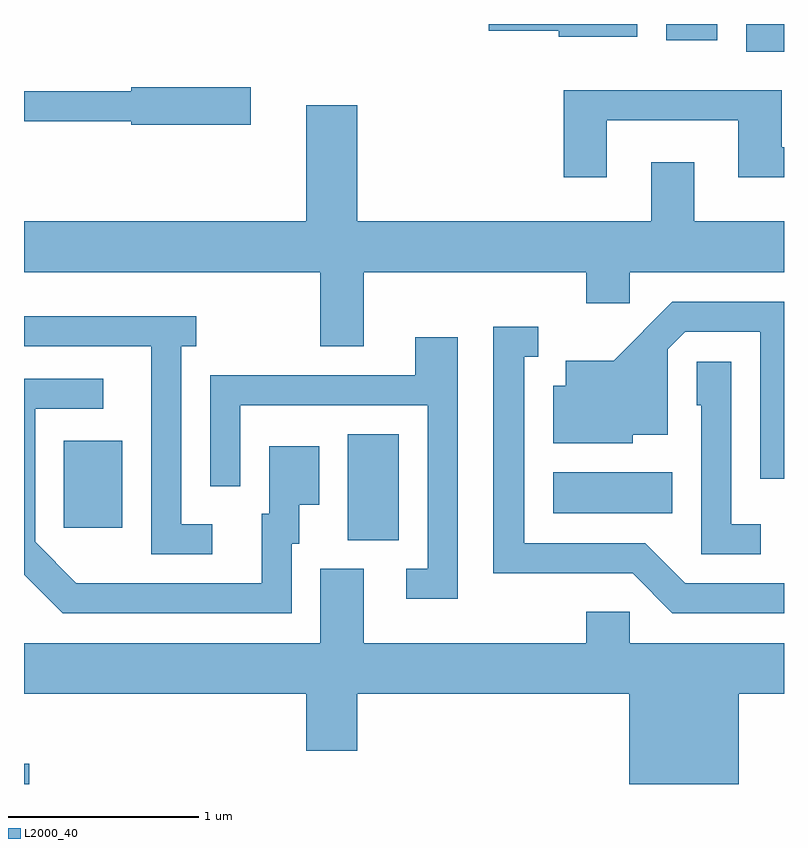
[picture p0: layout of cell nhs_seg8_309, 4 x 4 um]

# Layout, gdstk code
import gdstk
lib = gdstk.Library(unit=1e-6, precision=1e-09)
def R(c, l, rs):  # rectangles x0, y0, x1, y1
    for r in rs: c.add(gdstk.rectangle(r[:2], r[2:], *l))
def P(c, l, *ps):  # polygons
    for p in ps: c.add(gdstk.Polygon(p, *l))
L2000_40 = (2000, 40)

nhs_seg8_309 = lib.new_cell('nhs_seg8_309')
R(nhs_seg8_309, L2000_40, [(193.611,1880.342,193.639,1880.449), (195.316,1881.626,195.584,1882.184), (193.821,1881.691,194.129,1882.149), (196.396,1881.766,197.024,1881.984), (197.411,1884.196,197.611,1884.342), (196.991,1884.256,197.259,1884.342)])
P(nhs_seg8_309, L2000_40, [(196.839,1884.342),(196.056,1884.342),(196.056,1884.306),(196.426,1884.306),(196.426,1884.276),(196.839,1884.276)],
  [(194.804,1884.009),(194.176,1884.009),(194.176,1883.989),(193.611,1883.989),(193.611,1883.831),(194.176,1883.831),(194.176,1883.811),(194.804,1883.811)],
  [(196.679,1883.836),(197.371,1883.836),(197.371,1883.536),(197.611,1883.536),(197.611,1883.694),(197.599,1883.694),(197.599,1883.994),(196.451,1883.994),(196.451,1883.536),(196.679,1883.536)],
  [(195.399,1883.036),(196.571,1883.036),(196.571,1882.871),(196.799,1882.871),(196.799,1883.036),(197.611,1883.036),(197.611,1883.304),(197.139,1883.304),(197.139,1883.614),(196.911,1883.614),(196.911,1883.304),(195.364,1883.304),(195.364,1883.914),(195.096,1883.914),(195.096,1883.304),(193.611,1883.304),(193.611,1883.036),(195.171,1883.036),(195.171,1882.646),(195.399,1882.646)],
  [(197.611,1882.879),(197.024,1882.879),(196.714,1882.569),(196.461,1882.569),(196.461,1882.439),(196.396,1882.439),(196.396,1882.136),(196.814,1882.136),(196.814,1882.181),(196.999,1882.181),(196.999,1882.629),(197.092,1882.721),(197.486,1882.721),(197.486,1881.948),(197.611,1881.948)],
  [(194.603,1881.709),(194.439,1881.709),(194.439,1882.646),(194.518,1882.646),(194.518,1882.804),(193.611,1882.804),(193.611,1882.646),(194.281,1882.646),(194.281,1881.551),(194.603,1881.551)],
  [(197.611,1881.399),(197.092,1881.399),(196.882,1881.609),(196.244,1881.609),(196.244,1882.591),(196.318,1882.591),(196.318,1882.749),(196.081,1882.749),(196.081,1881.451),(196.814,1881.451),(197.024,1881.241),(197.611,1881.241)],
  [(195.894,1882.694),(195.671,1882.694),(195.671,1882.494),(194.591,1882.494),(194.591,1881.908),(194.749,1881.908),(194.749,1882.336),(195.736,1882.336),(195.736,1881.474),(195.623,1881.474),(195.623,1881.316),(195.894,1881.316)],
  [(197.488,1881.709),(197.334,1881.709),(197.334,1882.564),(197.151,1882.564),(197.151,1882.336),(197.176,1882.336),(197.176,1881.551),(197.488,1881.551)],
  [(195.019,1881.606),(195.059,1881.606),(195.059,1881.811),(195.164,1881.811),(195.164,1882.119),(194.901,1882.119),(194.901,1881.764),(194.861,1881.764),(194.861,1881.399),(193.887,1881.399),(193.669,1881.617),(193.669,1882.316),(194.028,1882.316),(194.028,1882.474),(193.611,1882.474),(193.611,1881.444),(193.814,1881.241),(195.019,1881.241)],
  [(197.374,1880.816),(197.611,1880.816),(197.611,1881.084),(196.799,1881.084),(196.799,1881.249),(196.571,1881.249),(196.571,1881.084),(195.399,1881.084),(195.399,1881.474),(195.171,1881.474),(195.171,1881.084),(193.611,1881.084),(193.611,1880.816),(195.096,1880.816),(195.096,1880.516),(195.364,1880.516),(195.364,1880.816),(196.796,1880.816),(196.796,1880.342),(197.374,1880.342)])

lib.write_gds('nhs_seg8_309.gds')
